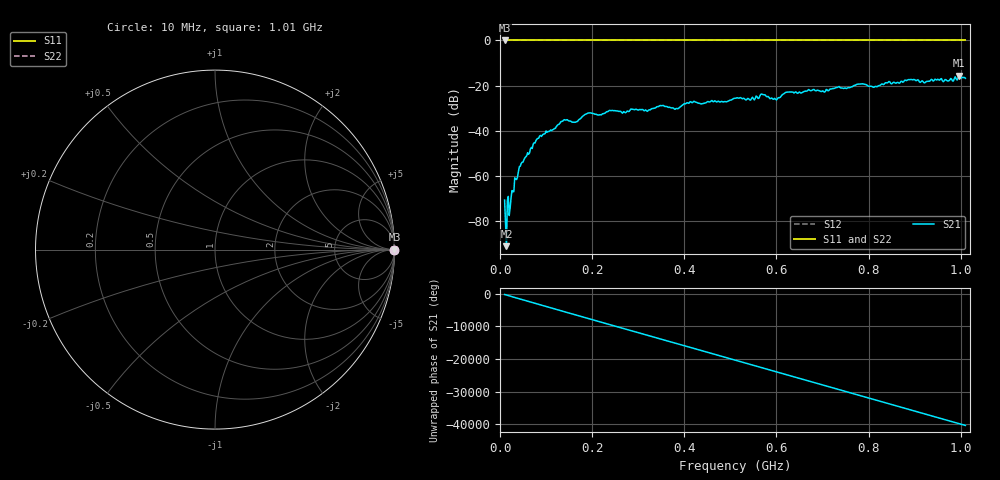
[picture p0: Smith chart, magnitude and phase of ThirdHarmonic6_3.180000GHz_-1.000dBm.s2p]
! 8/17/2025 9:36:06 AM
! C:\ANRITSUVNA\TEMP\TEMP.S2P
! CHANNEL.1
! TR.MEASUREMENT
! RAW.DATA
! RF.CORRECTION.OFF
! AVERAGING.OFF
! IF.BANDWIDTH: 5KHZ
! SWEEPTYPE:  FREQ.SWEEP(Linear)
! Reference Plane Port Info
! PORT:  PORT1  PORT2
! DISTANCE:  0  m  0  m
! TIME:  0  s  0  s
! PHASE.OFFSET:  0  deg.  0  deg.
! LOSS:  0  dB  0  dB
! REF.LOSS:  0  dB  0  dB
! REF.FREQ:  0  Hz  0  Hz
! Power Info
! POWER:  -20  dBm  -20  dBm
! EFF.POWER:  -20  dBm  -20  dBm
! SOURCE.ATTEN:  0  dB  0  dB
! TEST.ATTEN:  0  dB  0  dB
# GHZ S RI R 50.0
! FREQ.GHZ  S11RE  S11IM  S21RE  S21IM  S12RE  S12IM  S22RE  S22IM
!; PortSelection: Port_12
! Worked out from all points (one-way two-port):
!   501 points, 10 MHz to 1.01 GHz, reference 50 ohm
!   highest |S21| = -15.54 dB at 996 MHz (marker M1); lowest = -91.0 dB at 14 MHz (marker M2)
!   lowest |S11| = 0.0 dB at 10 MHz (marker M3)
!   |S11| at or under -10 dB: nowhere
!   |S22| runs from 0.0 to 0.0 dB; largest |S21 - S12| = 1.1
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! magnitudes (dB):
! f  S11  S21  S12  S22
! 10 MHz  0.0  -70.6  0.0  0.0
! 14 MHz  0.0  -91.0  0.0  0.0
! 16 MHz  0.0  -70.9  0.0  0.0
! 24 MHz  0.0  -69.6  0.0  0.0
! 30 MHz  0.0  -66.9  0.0  0.0
! 44 MHz  0.0  -55.6  0.0  0.0
! 82 MHz  0.0  -43.3  0.0  0.0
! 136 MHz  0.0  -35.7  0.0  0.0
! 164 MHz  0.0  -36.2  0.0  0.0
! 178 MHz  0.0  -33.8  0.0  0.0
! 344 MHz  0.0  -29.3  0.0  0.0
! 382 MHz  0.0  -30.1  0.0  0.0
! 416 MHz  0.0  -27.5  0.0  0.0
! 510 MHz  0.0  -25.6  0.0  0.0
! 548 MHz  0.0  -25.1  0.0  0.0
! 570 MHz  0.0  -23.9  0.0  0.0
! 598 MHz  0.0  -26.0  0.0  0.0
! 622 MHz  0.0  -22.9  0.0  0.0
! 678 MHz  0.0  -21.9  0.0  0.0
! 844 MHz  0.0  -18.2  0.0  0.0
! 996 MHz  0.0  -15.5  0.0  0.0
! 1.01 GHz  0.0  -16.7  0.0  0.0
